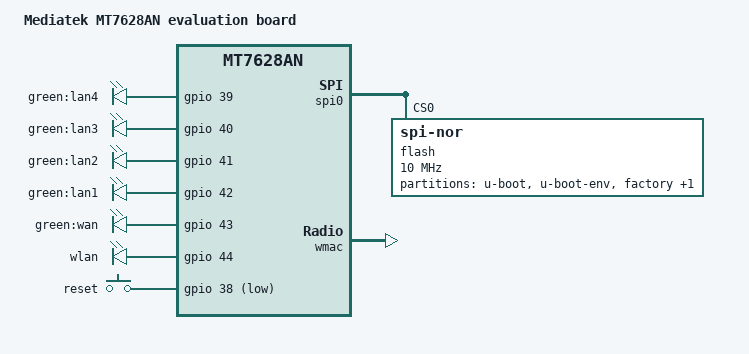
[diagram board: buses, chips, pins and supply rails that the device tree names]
#include "mt7628an.dtsi"

/ {
	compatible = "mediatek,mt7628an-eval-board", "mediatek,mt7628an-soc";
	model = "Mediatek MT7628AN evaluation board";
	leds {
		compatible = "gpio-leds";

		lan4 {
			label = "green:lan4";
			gpios = <&gpio 39 GPIO_ACTIVE_HIGH>;
		};

		lan3 {
			label = "green:lan3";
			gpios = <&gpio 40 GPIO_ACTIVE_HIGH>;
		};

		lan2 {
			label = "green:lan2";
			gpios = <&gpio 41 GPIO_ACTIVE_HIGH>;
		};

		lan1 {
			label = "green:lan1";
			gpios = <&gpio 42 GPIO_ACTIVE_HIGH>;
		};

		wan {
			label = "green:wan";
			gpios = <&gpio 43 GPIO_ACTIVE_HIGH>;
		};

		wlan {
			gpios = <&gpio 44 GPIO_ACTIVE_HIGH>;
			linux,default-trigger = "phy0tpt";
		};
	};

		keys {
		compatible = "gpio-keys";

		reset {
			label = "reset";
			gpios = <&gpio 38 GPIO_ACTIVE_LOW>;
			linux,code = <KEY_RESTART>;
		};

	};
};

&state_default {
	gpio {
		groups = "i2c";
		function = "gpio";
	};
};

&spi0 {
	status = "okay";

	flash@0 {
		compatible = "jedec,spi-nor";
		reg = <0>;
		spi-max-frequency = <10000000>;

		partitions {
			compatible = "fixed-partitions";
			#address-cells = <1>;
			#size-cells = <1>;

			partition@0 {
				label = "u-boot";
				reg = <0x0 0x30000>;
				read-only;
			};

			partition@30000 {
				label = "u-boot-env";
				reg = <0x30000 0x10000>;
				read-only;
			};

			partition@40000 {
				label = "factory";
				reg = <0x40000 0x10000>;
				read-only;

				nvmem-layout {
					compatible = "fixed-layout";
					#address-cells = <1>;
					#size-cells = <1>;

					eeprom_factory_0: eeprom@0 {
						reg = <0x0 0x400>;
					};
				};
			};

			partition@50000 {
				compatible = "denx,uimage";
				label = "firmware";
				reg = <0x50000 0x7b0000>;
			};
		};
	};
};

&wmac {
	status = "okay";

	nvmem-cells = <&eeprom_factory_0>;
	nvmem-cell-names = "eeprom";
};
